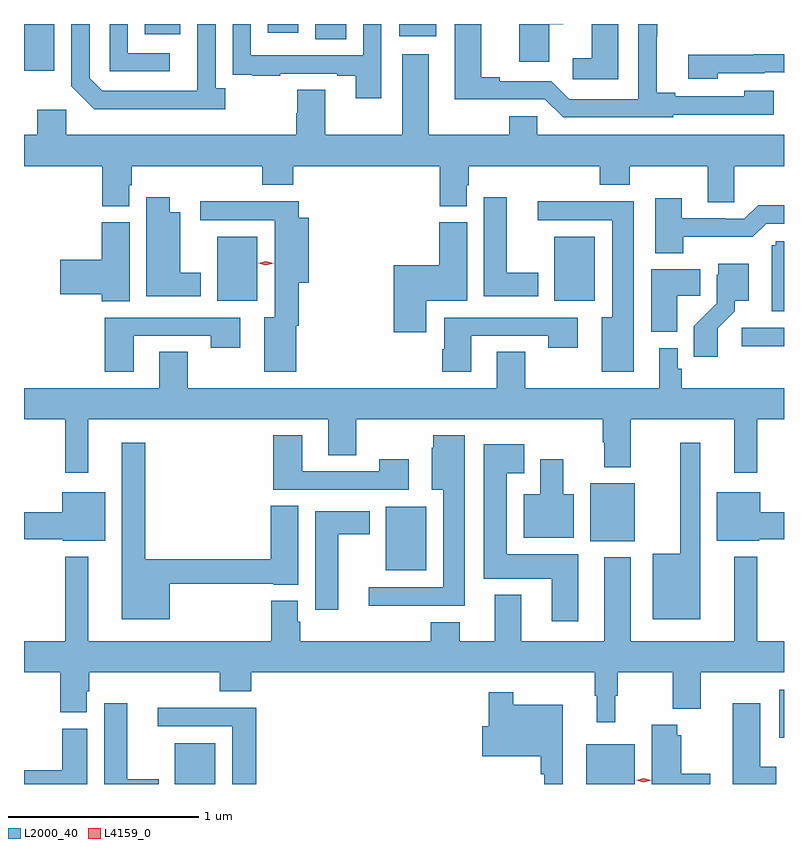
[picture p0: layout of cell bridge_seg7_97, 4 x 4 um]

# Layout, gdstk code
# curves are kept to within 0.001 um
import gdstk
lib = gdstk.Library(unit=1e-6, precision=1e-09)
def R(c, l, rs):  # rectangles x0, y0, x1, y1
    for r in rs: c.add(gdstk.rectangle(r[:2], r[2:], *l))
def P(c, l, *ps):  # polygons
    for p in ps: c.add(gdstk.Polygon(p, *l))
L2000_40 = (2000, 40)
L4159_0 = (4159, 0)

bridge_seg7_97 = lib.new_cell('bridge_seg7_97')
R(bridge_seg7_97, L2000_40, [(1129.88,1001.36,1130.092,1001.575), (1132.046,1001.36,1132.3,1001.569), (1133.06,1001.603,1133.086,1001.857), (1130.99,1002.485,1131.202,1002.82), (1132.067,1002.638,1132.3,1002.943), (1132.863,1003.663,1133.086,1003.761), (1130.102,1003.904,1130.314,1004.239), (1131.878,1003.904,1132.09,1004.239), (1129.086,1005.113,1129.246,1005.36), (1130.618,1005.28,1130.782,1005.36), (1131.062,1005.296,1131.256,1005.36), (1129.721,1005.305,1129.909,1005.36), (1130.369,1005.315,1130.53,1005.36)])
P(bridge_seg7_97, L2000_40, [(1132.213,1005.36),(1132.073,1005.36),(1132.073,1005.179),(1131.975,1005.179),(1131.975,1005.07),(1132.213,1005.07)],
  [(1132.503,1004.883),(1133.032,1004.883),(1133.032,1005.01),(1132.876,1005.01),(1132.876,1004.979),(1132.513,1004.979),(1132.513,1004.999),(1132.417,1004.999),(1132.417,1005.295),(1132.419,1005.295),(1132.419,1005.36),(1132.32,1005.36),(1132.32,1004.964),(1131.957,1004.964),(1131.861,1005.06),(1131.589,1005.06),(1131.589,1005.08),(1131.493,1005.08),(1131.493,1005.36),(1131.353,1005.36),(1131.353,1004.963),(1131.828,1004.964),(1131.924,1004.868),(1132.503,1004.868)],
  [(1130.146,1005.022),(1130.094,1005.022),(1130.094,1005.36),(1129.998,1005.36),(1129.997,1005.009),(1129.497,1005.009),(1129.431,1005.075),(1129.431,1005.36),(1129.335,1005.36),(1129.335,1005.033),(1129.456,1004.912),(1130.146,1004.912)],
  [(1131.85,1005.358),(1131.925,1005.358),(1131.925,1005.36),(1131.692,1005.36),(1131.692,1005.162),(1131.85,1005.162)],
  [(1129.852,1005.207),(1129.632,1005.207),(1129.632,1005.36),(1129.536,1005.36),(1129.536,1005.111),(1129.852,1005.111)],
  [(1130.967,1005.36),(1130.871,1005.36),(1130.871,1005.195),(1130.28,1005.195),(1130.28,1005.36),(1130.184,1005.36),(1130.184,1005.202),(1130.185,1005.202),(1130.185,1005.093),(1130.287,1005.093),(1130.287,1005.087),(1130.435,1005.087),(1130.435,1005.099),(1130.735,1005.099),(1130.735,1005.087),(1130.831,1005.087),(1130.831,1004.97),(1130.967,1004.97)],
  [(1129.639,1004.511),(1129.652,1004.511),(1129.652,1004.612),(1130.339,1004.612),(1130.339,1004.513),(1130.504,1004.513),(1130.504,1004.612),(1131.275,1004.612),(1131.275,1004.401),(1131.415,1004.401),(1131.415,1004.511),(1131.428,1004.511),(1131.428,1004.612),(1132.115,1004.612),(1132.115,1004.513),(1132.275,1004.513),(1132.275,1004.612),(1132.685,1004.612),(1132.685,1004.422),(1132.824,1004.422),(1132.824,1004.612),(1133.086,1004.612),(1133.086,1004.776),(1131.786,1004.776),(1131.786,1004.874),(1131.64,1004.874),(1131.64,1004.776),(1131.217,1004.776),(1131.217,1005.202),(1131.077,1005.202),(1131.077,1004.776),(1130.671,1004.776),(1130.671,1005.014),(1130.524,1005.014),(1130.524,1004.889),(1130.519,1004.889),(1130.519,1004.776),(1129.308,1004.776),(1129.308,1004.908),(1129.157,1004.908),(1129.157,1004.776),(1129.086,1004.776),(1129.086,1004.612),(1129.499,1004.612),(1129.499,1004.401),(1129.639,1004.401)],
  [(1132.737,1005.102),(1132.985,1005.102),(1132.985,1005.105),(1133.085,1005.105),(1133.086,1005.104),(1133.086,1005.202),(1132.927,1005.202),(1132.927,1005.199),(1132.581,1005.199),(1132.581,1005.071),(1132.737,1005.071)],
  [(1130.017,1004.05),(1129.909,1004.05),(1129.909,1004.368),(1129.852,1004.368),(1129.852,1004.449),(1129.73,1004.449),(1129.73,1003.928),(1130.017,1003.928)],
  [(1131.793,1004.05),(1131.628,1004.05),(1131.628,1004.449),(1131.506,1004.449),(1131.506,1003.928),(1131.793,1003.928)],
  [(1132.557,1004.24),(1132.921,1004.24),(1132.992,1004.31),(1133.086,1004.31),(1133.086,1004.407),(1132.951,1004.407),(1132.878,1004.334),(1132.778,1004.334),(1132.778,1004.337),(1132.549,1004.337),(1132.549,1004.443),(1132.409,1004.443),(1132.409,1004.153),(1132.557,1004.153)],
  [(1130.518,1003.772),(1130.531,1003.772),(1130.531,1003.997),(1130.584,1003.997),(1130.584,1004.341),(1130.531,1004.341),(1130.531,1004.426),(1130.013,1004.426),(1130.013,1004.328),(1130.405,1004.328),(1130.405,1003.816),(1130.351,1003.816),(1130.351,1003.53),(1130.518,1003.53)],
  [(1132.294,1004.426),(1131.789,1004.426),(1131.789,1004.328),(1132.181,1004.328),(1132.181,1003.816),(1132.127,1003.816),(1132.127,1003.53),(1132.294,1003.53)],
  [(1131.202,1003.904),(1131.418,1003.904),(1131.418,1004.316),(1131.272,1004.316),(1131.272,1004.089),(1131.032,1004.089),(1131.032,1003.737),(1131.202,1003.737)],
  [(1129.642,1004.316),(1129.496,1004.316),(1129.496,1004.12),(1129.278,1004.12),(1129.278,1003.937),(1129.496,1003.937),(1129.496,1003.9),(1129.642,1003.9)],
  [(1133.086,1004.217),(1133.043,1004.217),(1133.043,1004.196),(1133.021,1004.196),(1133.021,1003.848),(1133.086,1003.848)],
  [(1132.738,1003.759),(1132.828,1003.849),(1132.828,1003.904),(1132.9,1003.904),(1132.9,1004.098),(1132.739,1004.098),(1132.739,1004.04),(1132.731,1004.04),(1132.731,1003.889),(1132.612,1003.77),(1132.612,1003.608),(1132.738,1003.608)],
  [(1132.525,1003.93),(1132.646,1003.93),(1132.646,1004.068),(1132.388,1004.068),(1132.388,1003.739),(1132.525,1003.739)],
  [(1131.439,1003.719),(1131.844,1003.719),(1131.844,1003.656),(1132,1003.656),(1132,1003.815),(1131.299,1003.815),(1131.299,1003.649),(1131.287,1003.649),(1131.287,1003.53),(1131.439,1003.53)],
  [(1129.663,1003.719),(1130.068,1003.719),(1130.068,1003.656),(1130.224,1003.656),(1130.224,1003.815),(1129.511,1003.815),(1129.511,1003.53),(1129.663,1003.53)],
  [(1129.423,1003.28),(1130.687,1003.28),(1130.687,1003.09),(1130.835,1003.09),(1130.835,1003.28),(1132.132,1003.28),(1132.132,1003.16),(1132.139,1003.16),(1132.139,1003.028),(1132.279,1003.028),(1132.279,1003.28),(1132.823,1003.28),(1132.823,1002.999),(1132.945,1002.999),(1132.945,1003.28),(1133.086,1003.28),(1133.086,1003.444),(1132.547,1003.444),(1132.547,1003.545),(1132.527,1003.545),(1132.527,1003.654),(1132.43,1003.654),(1132.43,1003.444),(1131.723,1003.444),(1131.723,1003.634),(1131.575,1003.634),(1131.575,1003.444),(1129.947,1003.444),(1129.947,1003.634),(1129.799,1003.634),(1129.799,1003.444),(1129.086,1003.444),(1129.086,1003.28),(1129.302,1003.28),(1129.302,1002.999),(1129.423,1002.999)],
  [(1131.406,1003.195),(1131.239,1003.195),(1131.239,1003.131),(1131.233,1003.131),(1131.233,1002.908),(1131.293,1002.908),(1131.293,1002.396),(1130.901,1002.396),(1130.901,1002.299),(1131.406,1002.299)],
  [(1131.112,1003.069),(1130.956,1003.069),(1130.956,1003.005),(1130.551,1003.005),(1130.551,1003.195),(1130.399,1003.195),(1130.399,1002.909),(1131.112,1002.909)],
  [(1132.645,1003.156),(1132.541,1003.156),(1132.541,1002.571),(1132.394,1002.571),(1132.394,1002.227),(1132.645,1002.227)],
  [(1129.852,1002.414),(1130.4,1002.414),(1130.4,1002.41),(1130.53,1002.41),(1130.53,1002.824),(1130.384,1002.824),(1130.384,1002.542),(1129.723,1002.542),(1129.723,1003.156),(1129.601,1003.156),(1129.601,1002.227),(1129.852,1002.227)],
  [(1132.003,1002.568),(1131.628,1002.568),(1131.628,1002.995),(1131.718,1002.995),(1131.718,1003.147),(1131.506,1003.147),(1131.506,1002.44),(1131.863,1002.44),(1131.863,1002.216),(1132.003,1002.216)],
  [(1131.979,1002.886),(1131.925,1002.886),(1131.925,1003.069),(1131.803,1003.069),(1131.803,1002.886),(1131.716,1002.886),(1131.716,1002.656),(1131.979,1002.656)],
  [(1129.513,1002.895),(1129.286,1002.895),(1129.286,1002.789),(1129.086,1002.789),(1129.086,1002.647),(1129.29,1002.647),(1129.29,1002.641),(1129.513,1002.641)],
  [(1132.956,1002.647),(1133.086,1002.647),(1133.086,1002.789),(1132.96,1002.789),(1132.96,1002.895),(1132.733,1002.895),(1132.733,1002.641),(1132.956,1002.641)],
  [(1130.74,1002.674),(1130.905,1002.674),(1130.905,1002.796),(1130.618,1002.796),(1130.618,1002.276),(1130.74,1002.276)],
  [(1132.199,1001.825),(1132.21,1001.825),(1132.21,1001.948),(1132.501,1001.948),(1132.501,1001.756),(1132.648,1001.756),(1132.648,1001.948),(1133.086,1001.948),(1133.086,1002.112),(1132.945,1002.112),(1132.945,1002.556),(1132.823,1002.556),(1132.823,1002.112),(1132.279,1002.112),(1132.279,1002.553),(1132.139,1002.553),(1132.139,1002.112),(1131.703,1002.112),(1131.703,1002.355),(1131.563,1002.355),(1131.563,1002.112),(1131.379,1002.112),(1131.379,1002.211),(1131.227,1002.211),(1131.227,1002.112),(1130.54,1002.112),(1130.54,1002.213),(1130.527,1002.213),(1130.527,1002.325),(1130.387,1002.325),(1130.387,1002.112),(1129.423,1002.112),(1129.423,1002.556),(1129.302,1002.556),(1129.302,1002.112),(1129.086,1002.112),(1129.086,1001.948),(1129.277,1001.948),(1129.277,1001.737),(1129.417,1001.737),(1129.417,1001.847),(1129.43,1001.847),(1129.43,1001.948),(1130.117,1001.948),(1130.117,1001.849),(1130.282,1001.849),(1130.282,1001.948),(1132.089,1001.948),(1132.089,1001.825),(1132.1,1001.825),(1132.1,1001.685),(1132.199,1001.685)],
  [(1131.921,1001.776),(1131.661,1001.776),(1131.661,1001.842),(1131.532,1001.842),(1131.532,1001.665),(1131.498,1001.665),(1131.498,1001.507),(1131.805,1001.507),(1131.805,1001.411),(1131.825,1001.411),(1131.825,1001.36),(1131.921,1001.36)],
  [(1129.795,1001.386),(1129.63,1001.386),(1129.63,1001.785),(1129.508,1001.785),(1129.508,1001.36),(1129.795,1001.36)],
  [(1133.044,1001.452),(1132.96,1001.452),(1132.96,1001.785),(1132.817,1001.785),(1132.817,1001.36),(1133.044,1001.36)],
  [(1130.309,1001.762),(1129.791,1001.762),(1129.791,1001.664),(1130.183,1001.664),(1130.183,1001.36),(1130.309,1001.36)],
  [(1132.699,1001.415),(1132.546,1001.415),(1132.546,1001.617),(1132.524,1001.617),(1132.524,1001.671),(1132.391,1001.671),(1132.391,1001.36),(1132.699,1001.36)],
  [(1129.42,1001.652),(1129.286,1001.652),(1129.286,1001.432),(1129.086,1001.432),(1129.086,1001.36),(1129.42,1001.36)])
P(bridge_seg7_97, L4159_0, [(1132.347,1001.37),(1132.308,1001.38),(1132.308,1001.38),(1132.308,1001.38),(1132.347,1001.39),(1132.386,1001.381),(1132.386,1001.38),(1132.386,1001.38)],
  [(1130.359,1004.091),(1130.319,1004.1),(1130.319,1004.1),(1130.319,1004.101),(1130.359,1004.111),(1130.4,1004.101),(1130.4,1004.101),(1130.4,1004.1)])

lib.write_gds('bridge_seg7_97.gds')
